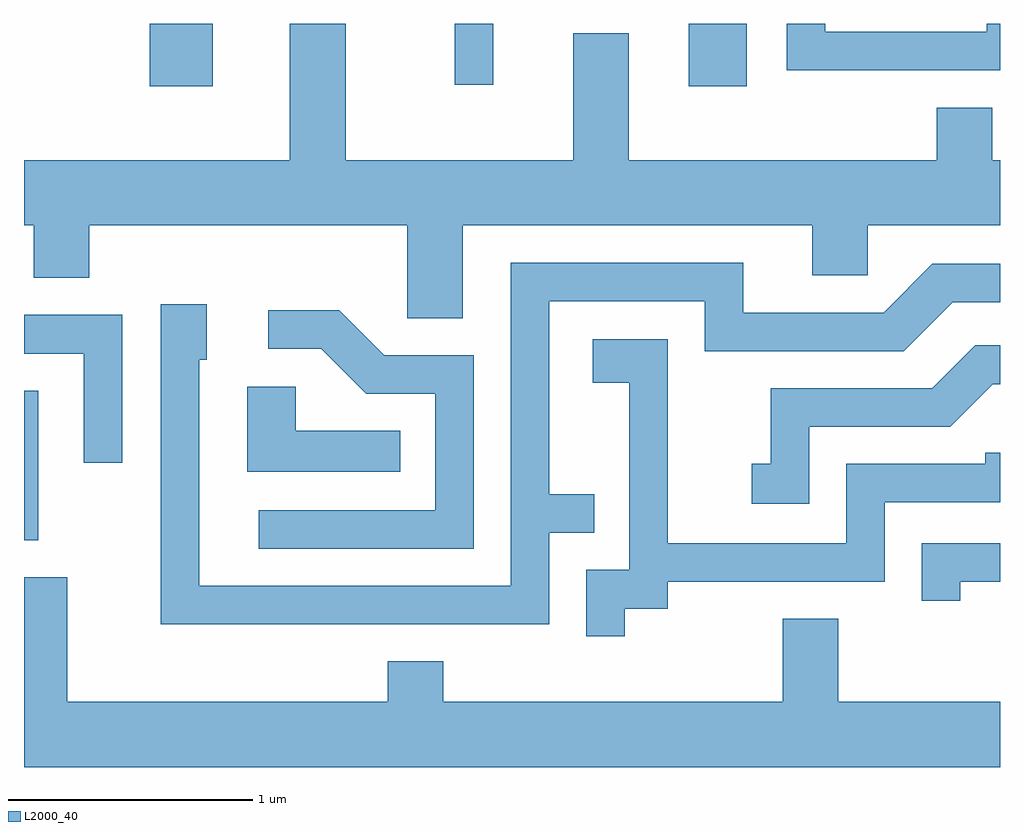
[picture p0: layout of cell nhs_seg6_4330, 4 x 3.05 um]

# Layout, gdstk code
import gdstk
lib = gdstk.Library(unit=1e-6, precision=1e-09)
def R(c, l, rs):  # rectangles x0, y0, x1, y1
    for r in rs: c.add(gdstk.rectangle(r[:2], r[2:], *l))
def P(c, l, *ps):  # polygons
    for p in ps: c.add(gdstk.Polygon(p, *l))
L2000_40 = (2000, 40)

nhs_seg6_4330 = lib.new_cell('nhs_seg6_4330')
R(nhs_seg6_4330, L2000_40, [(317.611,1582.046,317.669,1582.659), (318.126,1583.906,318.384,1584.162), (320.336,1583.906,320.574,1584.162), (319.376,1583.913,319.534,1584.162)])
P(nhs_seg6_4330, L2000_40, [(320.089,1584.124),(319.861,1584.124),(319.861,1583.604),(318.929,1583.604),(318.929,1584.162),(318.701,1584.162),(318.701,1583.604),(317.611,1583.604),(317.611,1583.336),(317.651,1583.336),(317.651,1583.121),(317.879,1583.121),(317.879,1583.336),(319.181,1583.336),(319.181,1582.956),(319.409,1582.956),(319.409,1583.336),(320.841,1583.336),(320.841,1583.131),(321.069,1583.131),(321.069,1583.336),(321.611,1583.336),(321.611,1583.604),(321.579,1583.604),(321.579,1583.819),(321.351,1583.819),(321.351,1583.604),(320.089,1583.604)],
  [(321.611,1584.162),(321.556,1584.162),(321.556,1584.129),(320.894,1584.129),(320.894,1584.162),(320.736,1584.162),(320.736,1583.971),(321.611,1583.971)],
  [(319.764,1582.076),(319.948,1582.076),(319.948,1582.234),(319.764,1582.234),(319.764,1583.026),(320.401,1583.026),(320.401,1582.821),(321.217,1582.821),(321.417,1583.021),(321.611,1583.021),(321.611,1583.179),(321.334,1583.179),(321.134,1582.979),(320.559,1582.979),(320.559,1583.184),(319.606,1583.184),(319.606,1581.859),(318.329,1581.859),(318.329,1582.786),(318.359,1582.786),(318.359,1583.014),(318.171,1583.014),(318.171,1581.701),(319.764,1581.701)],
  [(319.454,1582.804),(319.087,1582.804),(318.902,1582.989),(318.613,1582.989),(318.613,1582.831),(318.829,1582.831),(319.014,1582.646),(319.296,1582.646),(319.296,1582.169),(318.573,1582.169),(318.573,1582.011),(319.454,1582.011)],
  [(318.014,1582.969),(317.611,1582.969),(317.611,1582.811),(317.856,1582.811),(317.856,1582.363),(318.014,1582.363)],
  [(320.074,1581.766),(320.249,1581.766),(320.249,1581.876),(321.139,1581.876),(321.139,1582.201),(321.611,1582.201),(321.611,1582.404),(321.551,1582.404),(321.551,1582.359),(320.981,1582.359),(320.981,1582.034),(320.249,1582.034),(320.249,1582.869),(319.941,1582.869),(319.941,1582.691),(320.091,1582.691),(320.091,1581.924),(319.916,1581.924),(319.916,1581.653),(320.074,1581.653)],
  [(320.829,1582.511),(321.407,1582.511),(321.582,1582.686),(321.611,1582.686),(321.611,1582.844),(321.509,1582.844),(321.334,1582.669),(320.671,1582.669),(320.671,1582.359),(320.593,1582.359),(320.593,1582.196),(320.829,1582.196)],
  [(319.153,1582.494),(318.724,1582.494),(318.724,1582.674),(318.526,1582.674),(318.526,1582.326),(319.153,1582.326)],
  [(321.449,1581.876),(321.611,1581.876),(321.611,1582.034),(321.291,1582.034),(321.291,1581.798),(321.449,1581.798)],
  [(321.611,1581.384),(320.949,1581.384),(320.949,1581.724),(320.721,1581.724),(320.721,1581.384),(319.329,1581.384),(319.329,1581.549),(319.101,1581.549),(319.101,1581.384),(317.789,1581.384),(317.789,1581.894),(317.611,1581.894),(317.611,1581.116),(321.611,1581.116)])

lib.write_gds('nhs_seg6_4330.gds')
